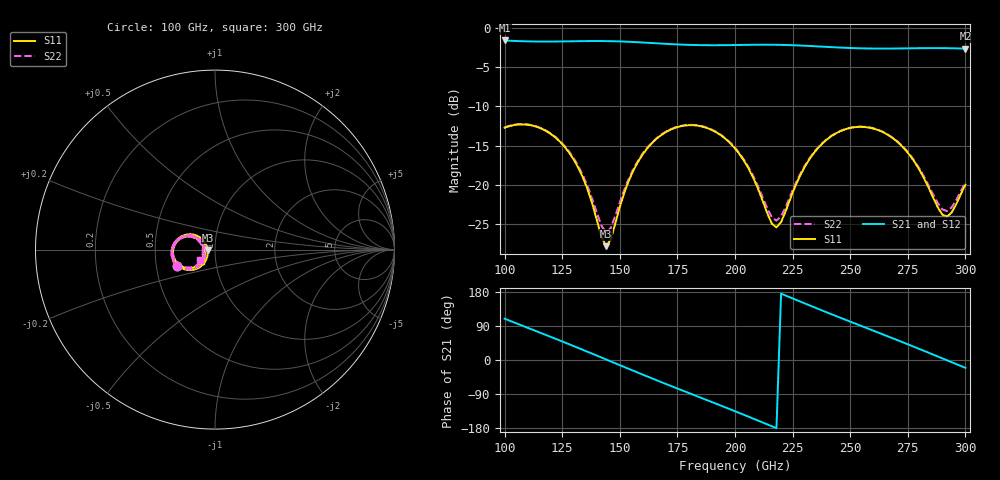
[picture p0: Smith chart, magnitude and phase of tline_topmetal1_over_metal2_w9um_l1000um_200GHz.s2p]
#  GHZ S DB R 50
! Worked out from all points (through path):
!   101 points, 100 GHz to 300 GHz, reference 50 ohm
!   highest |S21| = -1.60 dB at 100 GHz (marker M1); lowest = -2.6 dB at 300 GHz (marker M2)
!   group delay of S21, straight-line fit = 6.8 ps
!   lowest |S11| = -27.8 dB at 144 GHz (marker M3), VSWR 1.09, Z = 46.1 - j0.194 ohm
!   |S11| at or under -10 dB: start of sweep to end of sweep
!   |S22| runs from -26.0 to -12.2 dB; largest |S21 - S12| = 1.4e-13
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100  -12.71 -157.1  -1.60 109.0  -1.60 109.0  -12.67 -156.5
108  -12.28 -173.8  -1.70 89.8  -1.70 89.8  -12.24 -172.8
116  -12.82 169.9  -1.74 70.7  -1.74 70.7  -12.77 171.4
126  -15.11 151.1  -1.72 46.5  -1.72 46.5  -15.01 153.6
134  -19.05 141.0  -1.69 26.7  -1.69 26.7  -18.77 145.1
144  -27.78 -177.0  -1.68 1.6  -1.68 1.6  -26.03 -176.5
156  -18.08 -130.4  -1.80 -28.7  -1.80 -28.7  -17.88 -133.7
168  -13.63 -149.1  -2.00 -58.4  -2.00 -58.4  -13.57 -150.5
176  -12.54 -164.4  -2.12 -77.6  -2.12 -77.6  -12.50 -165.1
184  -12.45 -179.7  -2.19 -96.7  -2.19 -96.7  -12.41 180.0
200  -15.33 152.4  -2.18 -135.2  -2.18 -135.2  -15.24 153.3
210  -20.49 146.9  -2.15 -159.9  -2.15 -159.9  -20.17 149.0
218  -25.39 -173.7  -2.15 -179.9  -2.15 -179.9  -24.52 -174.4
226  -20.26 -137.0  -2.22 160.0  -2.22 160.0  -20.00 -139.9
234  -16.01 -140.6  -2.33 140.1  -2.33 140.1  -15.92 -142.4
250  -12.73 -166.6  -2.56 101.3  -2.56 101.3  -12.70 -167.3
258  -12.68 179.1  -2.62 82.3  -2.62 82.3  -12.64 178.8
268  -13.93 162.3  -2.63 58.4  -2.63 58.4  -13.87 162.5
280  -18.04 149.4  -2.58 29.2  -2.58 29.2  -17.87 150.6
290  -23.75 173.4  -2.58 4.3  -2.58 4.3  -23.09 174.1
294  -23.50 -161.0  -2.59 -5.7  -2.59 -5.7  -22.86 -162.9
300  -19.93 -142.2  -2.64 -20.7  -2.64 -20.7  -19.64 -145.0
